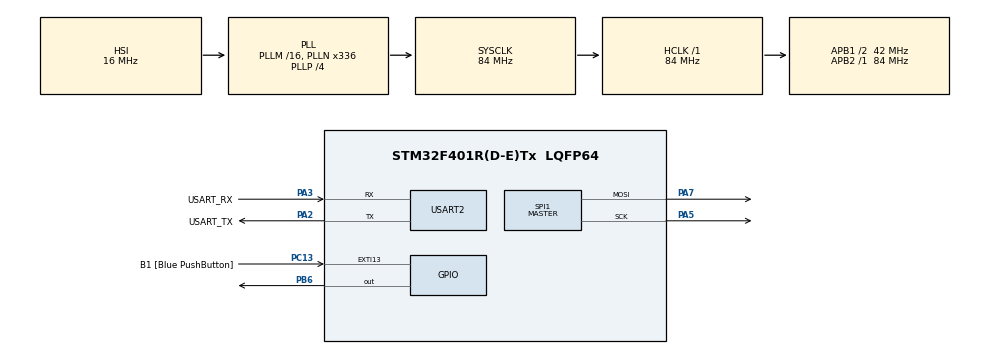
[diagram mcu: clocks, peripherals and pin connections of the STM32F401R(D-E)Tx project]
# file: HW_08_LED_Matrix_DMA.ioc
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Dma.Request0=SPI1_TX
Dma.SPI1_TX.0.Direction=DMA_MEMORY_TO_PERIPH
Dma.SPI1_TX.0.FIFOMode=DMA_FIFOMODE_DISABLE
Dma.SPI1_TX.0.Instance=DMA2_Stream3
Dma.SPI1_TX.0.MemDataAlignment=DMA_MDATAALIGN_BYTE
Dma.SPI1_TX.0.MemInc=DMA_MINC_ENABLE
Dma.SPI1_TX.0.Mode=DMA_NORMAL
Dma.SPI1_TX.0.PeriphDataAlignment=DMA_PDATAALIGN_BYTE
Dma.SPI1_TX.0.PeriphInc=DMA_PINC_DISABLE
Dma.SPI1_TX.0.Priority=DMA_PRIORITY_LOW
Mcu.Family=STM32F4
Mcu.Name=STM32F401R(D-E)Tx
Mcu.Package=LQFP64
NVIC.DMA2_Stream3_IRQn=true\:0\:0\:false\:false\:true\:false\:true\:true
NVIC.PriorityGroup=NVIC_PRIORITYGROUP_0
NVIC.SPI1_IRQn=true\:0\:0\:false\:false\:true\:true\:true\:true
NVIC.TIM2_IRQn=true\:0\:0\:false\:false\:true\:true\:true\:true
PA13.GPIO_Label=TMS
PA13.Mode=Serial_Wire
PA13.Signal=SYS_JTMS-SWDIO
PA14.GPIO_Label=TCK
PA14.Mode=Serial_Wire
PA14.Signal=SYS_JTCK-SWCLK
PA2.GPIO_Label=USART_TX
PA2.GPIO_Mode=GPIO_MODE_AF_PP
PA2.GPIO_PuPd=GPIO_NOPULL
PA2.GPIO_Speed=GPIO_SPEED_FREQ_LOW
PA2.Mode=Asynchronous
PA2.Signal=USART2_TX
PA3.GPIO_Label=USART_RX
PA3.GPIO_Mode=GPIO_MODE_AF_PP
PA3.GPIO_PuPd=GPIO_NOPULL
PA3.GPIO_Speed=GPIO_SPEED_FREQ_LOW
PA3.Mode=Asynchronous
PA3.Signal=USART2_RX
PA5.Mode=TX_Only_Simplex_Unidirect_Master
PA5.Signal=SPI1_SCK
PA7.Mode=TX_Only_Simplex_Unidirect_Master
PA7.Signal=SPI1_MOSI
PB3.GPIO_Label=SWO
PB3.Signal=SYS_JTDO-SWO
PB6.Signal=GPIO_Output
PC13-ANTI_TAMP.GPIO_Label=B1 [Blue PushButton]
PC13-ANTI_TAMP.GPIO_ModeDefaultEXTI=GPIO_MODE_IT_FALLING
PC13-ANTI_TAMP.GPIO_PuPd=GPIO_NOPULL
PC13-ANTI_TAMP.Signal=GPXTI13
PC14-OSC32_IN.Mode=LSE-External-Oscillator
PC14-OSC32_IN.Signal=RCC_OSC32_IN
PC15-OSC32_OUT.Mode=LSE-External-Oscillator
PC15-OSC32_OUT.Signal=RCC_OSC32_OUT
PH0\ -\ OSC_IN.Mode=HSE-External-Clock-Source
PH0\ -\ OSC_IN.Signal=RCC_OSC_IN
PH1\ -\ OSC_OUT.Mode=HSE-External-Clock-Source
PH1\ -\ OSC_OUT.Signal=RCC_OSC_OUT
ProjectManager.HeapSize=0x200
ProjectManager.StackSize=0x400
ProjectManager.TargetToolchain=STM32CubeIDE
RCC.48MHZClocksFreq_Value=48000000
RCC.AHBFreq_Value=84000000
RCC.APB1CLKDivider=RCC_HCLK_DIV2
RCC.APB1Freq_Value=42000000
RCC.APB1TimFreq_Value=84000000
RCC.APB2Freq_Value=84000000
RCC.APB2TimFreq_Value=84000000
RCC.CortexFreq_Value=84000000
RCC.HCLKFreq_Value=84000000
RCC.HSE_VALUE=8000000
RCC.HSI_VALUE=16000000
RCC.PLLN=336
RCC.PLLP=RCC_PLLP_DIV4
RCC.PLLQ=7
RCC.SYSCLKFreq_VALUE=84000000
RCC.SYSCLKSource=RCC_SYSCLKSOURCE_PLLCLK
RCC.VCOOutputFreq_Value=336000000
SPI1.BaudRatePrescaler=SPI_BAUDRATEPRESCALER_4
SPI1.Direction=SPI_DIRECTION_2LINES
SPI1.Mode=SPI_MODE_MASTER
SPI1.VirtualType=VM_MASTER
TIM2.Period=1000-1
TIM2.Prescaler=336-1
USART2.VirtualMode=VM_ASYNC
VP_TIM2_VS_ClockSourceINT.Mode=Internal
board=NUCLEO-F401RE

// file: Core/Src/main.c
/* USER CODE BEGIN Header */
/**
 ******************************************************************************
 * @file           : main.c
 * @brief          : Main program body
 ******************************************************************************
 * @attention
 *
 * Copyright (c) 2022 STMicroelectronics.
 * All rights reserved.
 *
 * This software is licensed under terms that can be found in the LICENSE file
 * in the root directory of this software component.
 * If no LICENSE file comes with this software, it is provided AS-IS.
 *
 ******************************************************************************
 */
/* USER CODE END Header */
#include "main.h"

/* USER CODE BEGIN PV */
SPI_HandleTypeDef hspi1;
DMA_HandleTypeDef hdma_spi1_tx;

TIM_HandleTypeDef htim2;

UART_HandleTypeDef huart2;

// letter B
uint8_t matrixB[5][2] = { { 127, 16 }, { 73, 8 }, { 73, 4 }, { 73, 2 }, { 54, 1 } };
// number 7
uint8_t matrix7[5][2] = { { 65, 16 }, { 66, 8 }, { 68, 4 }, { 72, 2 }, { 112, 1 } };

/* USER CODE END PV */

void SystemClock_Config(void);
static void MX_GPIO_Init(void);
static void MX_DMA_Init(void);
static void MX_USART2_UART_Init(void);
static void MX_SPI1_Init(void);
static void MX_TIM2_Init(void);

/* USER CODE BEGIN 0 */

int elapsed = 0;
int index_column = 0;

// the timer is triggered every 4ms, and updates all 5 columns sequentially, then restarting
void HAL_TIM_PeriodElapsedCallback(TIM_HandleTypeDef *htim) {
	if (htim == &htim2) {
		elapsed += 1;
		if (elapsed <= 200) { // less than 1 second elapsed
			// set -> transmit DMA -> reset
			HAL_GPIO_WritePin(GPIOB, GPIO_PIN_6, GPIO_PIN_SET);
			HAL_SPI_Transmit_DMA(&hspi1, matrixB[index_column], 2);
			index_column = (index_column + 1) % 5;
			HAL_GPIO_WritePin(GPIOB, GPIO_PIN_6, GPIO_PIN_RESET);
		} else if (elapsed == 400) { // resets counter after 2 seconds (2 iterations over the 2 letters)
			elapsed = 0;
		} else if (elapsed >= 200) { // less than 2 seconds elapsed
			// set -> transmit DMA -> reset
			HAL_GPIO_WritePin(GPIOB, GPIO_PIN_6, GPIO_PIN_SET);
			HAL_SPI_Transmit_DMA(&hspi1, matrix7[index_column], 2);
			index_column = (index_column + 1) % 5;
			HAL_GPIO_WritePin(GPIOB, GPIO_PIN_6, GPIO_PIN_RESET);
		}

	}
}
/* USER CODE END 0 */

int main(void) {

	/* MCU Configuration--------------------------------------------------------*/

	/* Reset of all peripherals, Initializes the Flash interface and the Systick. */
	HAL_Init();

	/* Configure the system clock */
	SystemClock_Config();

	/* Initialize all configured peripherals */
	MX_GPIO_Init();
	MX_DMA_Init();
	MX_USART2_UART_Init();
	MX_SPI1_Init();
	MX_TIM2_Init();
	/* USER CODE BEGIN 2 */
	//only relevant piece of code here
	HAL_TIM_Base_Start_IT(&htim2);
	/* USER CODE END 2 */

	/* Infinite loop */
	while (1) {

	}
}

void SystemClock_Config(void) {
	RCC_OscInitTypeDef RCC_OscInitStruct = { 0 };
	RCC_ClkInitTypeDef RCC_ClkInitStruct = { 0 };

	/** Configure the main internal regulator output voltage
	 */
	__HAL_RCC_PWR_CLK_ENABLE();
	__HAL_PWR_VOLTAGESCALING_CONFIG(PWR_REGULATOR_VOLTAGE_SCALE2);

	/** Initializes the RCC Oscillators according to the specified parameters
	 * in the RCC_OscInitTypeDef structure.
	 */
	RCC_OscInitStruct.OscillatorType = RCC_OSCILLATORTYPE_HSI;
	RCC_OscInitStruct.HSIState = RCC_HSI_ON;
	RCC_OscInitStruct.HSICalibrationValue = RCC_HSICALIBRATION_DEFAULT;
	RCC_OscInitStruct.PLL.PLLState = RCC_PLL_ON;
	RCC_OscInitStruct.PLL.PLLSource = RCC_PLLSOURCE_HSI;
	RCC_OscInitStruct.PLL.PLLM = 16;
	RCC_OscInitStruct.PLL.PLLN = 336;
	RCC_OscInitStruct.PLL.PLLP = RCC_PLLP_DIV4;
	RCC_OscInitStruct.PLL.PLLQ = 7;
	if (HAL_RCC_OscConfig(&RCC_OscInitStruct) != HAL_OK) {
		Error_Handler();
	}

	/** Initializes the CPU, AHB and APB buses clocks
	 */
	RCC_ClkInitStruct.ClockType = RCC_CLOCKTYPE_HCLK | RCC_CLOCKTYPE_SYSCLK | RCC_CLOCKTYPE_PCLK1 | RCC_CLOCKTYPE_PCLK2;
	RCC_ClkInitStruct.SYSCLKSource = RCC_SYSCLKSOURCE_PLLCLK;
	RCC_ClkInitStruct.AHBCLKDivider = RCC_SYSCLK_DIV1;
	RCC_ClkInitStruct.APB1CLKDivider = RCC_HCLK_DIV2;
	RCC_ClkInitStruct.APB2CLKDivider = RCC_HCLK_DIV1;

	if (HAL_RCC_ClockConfig(&RCC_ClkInitStruct, FLASH_LATENCY_2) != HAL_OK) {
		Error_Handler();
	}
}

static void MX_SPI1_Init(void) {

	/* SPI1 parameter configuration*/
	hspi1.Instance = SPI1;
	hspi1.Init.Mode = SPI_MODE_MASTER;
	hspi1.Init.Direction = SPI_DIRECTION_2LINES;
	hspi1.Init.DataSize = SPI_DATASIZE_8BIT;
	hspi1.Init.CLKPolarity = SPI_POLARITY_LOW;
	hspi1.Init.CLKPhase = SPI_PHASE_1EDGE;
	hspi1.Init.NSS = SPI_NSS_SOFT;
	hspi1.Init.BaudRatePrescaler = SPI_BAUDRATEPRESCALER_4;
	hspi1.Init.FirstBit = SPI_FIRSTBIT_MSB;
	hspi1.Init.TIMode = SPI_TIMODE_DISABLE;
	hspi1.Init.CRCCalculation = SPI_CRCCALCULATION_DISABLE;
	hspi1.Init.CRCPolynomial = 10;
	if (HAL_SPI_Init(&hspi1) != HAL_OK) {
		Error_Handler();
	}

}

static void MX_TIM2_Init(void) {

	TIM_ClockConfigTypeDef sClockSourceConfig = { 0 };
	TIM_MasterConfigTypeDef sMasterConfig = { 0 };

	htim2.Instance = TIM2;
	htim2.Init.Prescaler = 336 - 1;
	htim2.Init.CounterMode = TIM_COUNTERMODE_UP;
	htim2.Init.Period = 1000 - 1;
	htim2.Init.ClockDivision = TIM_CLOCKDIVISION_DIV1;
	htim2.Init.AutoReloadPreload = TIM_AUTORELOAD_PRELOAD_DISABLE;
	if (HAL_TIM_Base_Init(&htim2) != HAL_OK) {
		Error_Handler();
	}
	sClockSourceConfig.ClockSource = TIM_CLOCKSOURCE_INTERNAL;
	if (HAL_TIM_ConfigClockSource(&htim2, &sClockSourceConfig) != HAL_OK) {
		Error_Handler();
	}
	sMasterConfig.MasterOutputTrigger = TIM_TRGO_RESET;
	sMasterConfig.MasterSlaveMode = TIM_MASTERSLAVEMODE_DISABLE;
	if (HAL_TIMEx_MasterConfigSynchronization(&htim2, &sMasterConfig) != HAL_OK) {
		Error_Handler();
	}

}

static void MX_USART2_UART_Init(void) {

	huart2.Instance = USART2;
	huart2.Init.BaudRate = 115200;
	huart2.Init.WordLength = UART_WORDLENGTH_8B;
	huart2.Init.StopBits = UART_STOPBITS_1;
	huart2.Init.Parity = UART_PARITY_NONE;
	huart2.Init.Mode = UART_MODE_TX_RX;
	huart2.Init.HwFlowCtl = UART_HWCONTROL_NONE;
	huart2.Init.OverSampling = UART_OVERSAMPLING_16;
	if (HAL_UART_Init(&huart2) != HAL_OK) {
		Error_Handler();
	}

}

static void MX_DMA_Init(void) {

	/* DMA controller clock enable */
	__HAL_RCC_DMA2_CLK_ENABLE();

	/* DMA interrupt init */
	/* DMA2_Stream3_IRQn interrupt configuration */
	HAL_NVIC_SetPriority(DMA2_Stream3_IRQn, 0, 0);
	HAL_NVIC_EnableIRQ(DMA2_Stream3_IRQn);

}

static void MX_GPIO_Init(void) {
	GPIO_InitTypeDef GPIO_InitStruct = { 0 };

	/* GPIO Ports Clock Enable */
	__HAL_RCC_GPIOC_CLK_ENABLE();
	__HAL_RCC_GPIOH_CLK_ENABLE();
	__HAL_RCC_GPIOA_CLK_ENABLE();
	__HAL_RCC_GPIOB_CLK_ENABLE();

	/*Configure GPIO pin Output Level */
	HAL_GPIO_WritePin(GPIOB, GPIO_PIN_6, GPIO_PIN_RESET);

	/*Configure GPIO pin : B1_Pin */
	GPIO_InitStruct.Pin = B1_Pin;
	GPIO_InitStruct.Mode = GPIO_MODE_IT_FALLING;
	GPIO_InitStruct.Pull = GPIO_NOPULL;
	HAL_GPIO_Init(B1_GPIO_Port, &GPIO_InitStruct);

	/*Configure GPIO pin : PB6 */
	GPIO_InitStruct.Pin = GPIO_PIN_6;
	GPIO_InitStruct.Mode = GPIO_MODE_OUTPUT_PP;
	GPIO_InitStruct.Pull = GPIO_NOPULL;
	GPIO_InitStruct.Speed = GPIO_SPEED_FREQ_LOW;
	HAL_GPIO_Init(GPIOB, &GPIO_InitStruct);

}

void Error_Handler(void) {
	__disable_irq();
	while (1) {
	}
}
